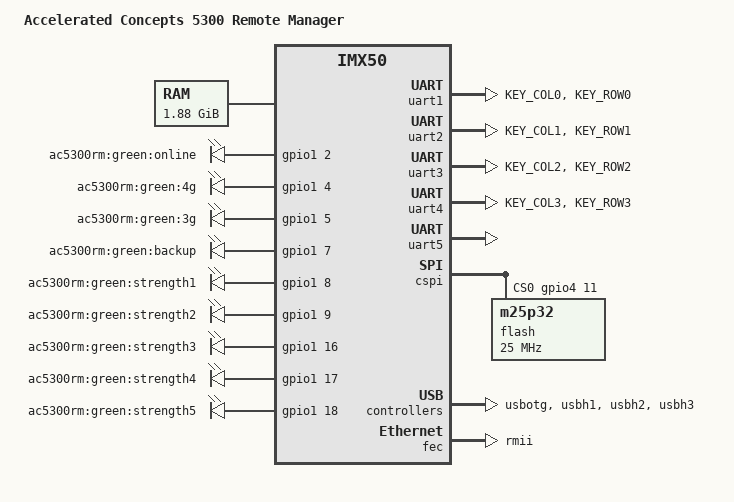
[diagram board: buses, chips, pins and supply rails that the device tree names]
/*
 * Copyright 2013, Greg Ungerer <gerg@uclinux.org>
 *
 * The code contained herein is licensed under the GNU General Public
 * License. You may obtain a copy of the GNU General Public License
 * Version 2 or later at the following locations:
 *
 * http://www.opensource.org/licenses/gpl-license.html
 * http://www.gnu.org/copyleft/gpl.html
 */

/dts-v1/;
#include "imx50.dtsi"

/ {
	model = "Accelerated Concepts 5300 Remote Manager";
	compatible = "fsl,imx50-ac5300rm", "fsl,imx50";

	memory {
		device_type = "memory";
		reg = <0x70000000 0x78000000>;
	};

	leds {
		compatible = "gpio-leds";

		green_online_led {
			label = "ac5300rm:green:online";
			gpios = <&gpio1 2 0>;
			linux,default-trigger = "online";
		};

		green_4g_led {
			label = "ac5300rm:green:4g";
			gpios = <&gpio1 4 0>;
			linux,default-trigger = "4g";
		};

		green_3g_led {
			label = "ac5300rm:green:3g";
			gpios = <&gpio1 5 0>;
			linux,default-trigger = "3g";
		};

		green_backup_led {
			label = "ac5300rm:green:backup";
			gpios = <&gpio1 7 0>;
			linux,default-trigger = "backup";
		};

		green_strength1_led {
			label = "ac5300rm:green:strength1";
			gpios = <&gpio1 8 0>;
			linux,default-trigger = "strength1";
		};

		green_strength2_led {
			label = "ac5300rm:green:strength2";
			gpios = <&gpio1 9 0>;
			linux,default-trigger = "strength2";
		};

		green_strength3_led {
			label = "ac5300rm:green:strength3";
			gpios = <&gpio1 16 0>;
			linux,default-trigger = "strength3";
		};

		green_strength4_led {
			label = "ac5300rm:green:strength4";
			gpios = <&gpio1 17 0>;
			linux,default-trigger = "strength4";
		};

		green_strength5_led {
			label = "ac5300rm:green:strength5";
			gpios = <&gpio1 18 0>;
			linux,default-trigger = "strength5";
		};
	};
};

&iomuxc {
	pinctrl-names = "default";
	pinctrl-0 = <&pinctrl_gpio_leds>, <&pinctrl_usb>;

	ledpins {
		pinctrl_gpio_leds: gpioledsgrp {
			fsl,pins = <
				MX50_PAD_DISP_D2__GPIO2_2 0
				MX50_PAD_DISP_D4__GPIO2_4 0
				MX50_PAD_DISP_D5__GPIO2_5 0
				MX50_PAD_DISP_D7__GPIO2_7 0
				MX50_PAD_DISP_D8__GPIO2_8 0
				MX50_PAD_DISP_D9__GPIO2_9 0
				MX50_PAD_DISP_WR__GPIO2_16 0
				MX50_PAD_DISP_RS__GPIO2_17 0
				MX50_PAD_DISP_BUSY__GPIO2_18 0
				MX50_PAD_EIM_CRE__GPIO1_27 0
			>;
		};
	};

	usbpins {
		pinctrl_usb: usbgrp {
			fsl,pins = <
				MX50_PAD_EPDC_BDR1__GPIO4_24 0
				MX50_PAD_EPDC_SDCE0__GPIO4_25 0
				MX50_PAD_SSI_TXD__GPIO6_2 0
				MX50_PAD_EPDC_SDCE1__GPIO4_26 0
				MX50_PAD_OWIRE__GPIO6_26 0
				MX50_PAD_EPITO__GPIO6_27 0
			>;
		};
	};

	uart1 {
		pinctrl_uart1_dtrdcd: uart1_dtrdcd_grp {
			fsl,pins = <
				MX50_PAD_KEY_COL0__GPIO4_0 0
				MX50_PAD_KEY_ROW0__GPIO4_1 0
			>;
		};
	};
	uart2 {
		pinctrl_uart2_dtrdcd: uart2_dtrdcd_grp {
			fsl,pins = <
				MX50_PAD_KEY_COL1__GPIO4_2 0
				MX50_PAD_KEY_ROW1__GPIO4_3 0
			>;
		};
	};

	uart3 {
		pinctrl_uart3_dtrdcd: uart3_dtrdcd_grp {
			fsl,pins = <
				MX50_PAD_KEY_COL2__GPIO4_4 0
				MX50_PAD_KEY_ROW2__GPIO4_5 0
			>;
		};
	};

	uart4 {
		pinctrl_uart4_dtrdcd: uart4_dtrdcd_grp {
			fsl,pins = <
				MX50_PAD_KEY_COL3__GPIO4_6 0
				MX50_PAD_KEY_ROW3__GPIO4_7 0
			>;
		};
	};
};

&uart1 {
	pinctrl-names = "default";
	pinctrl-0 = <&pinctrl_uart1_1 &pinctrl_uart1_dtrdcd>;
	fsl,uart-has-rtscts;
	fsl,uart-has-dcd-gpio = <&gpio4 0 0>;
	fsl,uart-has-dtr-gpio = <&gpio4 1 0>;
	status = "okay";
};

&uart2 {
	pinctrl-names = "default";
	pinctrl-0 = <&pinctrl_uart2_2 &pinctrl_uart2_dtrdcd>;
	fsl,uart-has-rtscts;
	fsl,uart-has-dcd-gpio = <&gpio4 2 0>;
	fsl,uart-has-dtr-gpio = <&gpio4 3 0>;
	status = "okay";
};

&uart3 {
	pinctrl-names = "default";
	pinctrl-0 = <&pinctrl_uart3_1 &pinctrl_uart3_dtrdcd>;
	fsl,uart-has-rtscts;
	fsl,uart-has-dcd-gpio = <&gpio4 4 0>;
	fsl,uart-has-dtr-gpio = <&gpio4 5 0>;
	status = "okay";
};

&uart4 {
	pinctrl-names = "default";
	pinctrl-0 = <&pinctrl_uart4_1 &pinctrl_uart4_dtrdcd>;
	fsl,uart-has-rtscts;
	fsl,uart-has-dcd-gpio = <&gpio4 6 0>;
	fsl,uart-has-dtr-gpio = <&gpio4 7 0>;
	status = "okay";
};

&uart5 {
	pinctrl-names = "default";
	pinctrl-0 = <&pinctrl_uart5_1>;
	status = "okay";
};

&cspi {
	pinctrl-names = "default";
	pinctrl-0 = <&pinctrl_cspi_1>;
	fsl,spi-num-chipselects = <1>;
	cs-gpios = <&gpio4 11 0>;
	status = "okay";

	flash: m25p32@0 {
		#address-cells = <1>;
		#size-cells = <1>;
		compatible = "m25p32", "m25p80";
		spi-max-frequency = <25000000>;
		reg = <0>;

		u-boot@0          { reg = <0x00000000 0x00030000>; };
		u-boot-env@030000 { reg = <0x00030000 0x00010000>; };
		config@40000      { reg = <0x00040000 0x000c0000>; };
		image@100000      { reg = <0x00100000 0x00780000>; };
		image1@880000     { reg = <0x00880000 0x00780000>; };
		all@0             { reg = <0x00000000 0x01000000>; };
	};
};

&usbotg {
	pinctrl-names = "default";
	status = "okay";
};

&usbh1 {
	pinctrl-names = "default";
	status = "okay";
};

&usbh2 {
	pinctrl-names = "default";
	status = "okay";
};

&usbh3 {
	pinctrl-names = "default";
	status = "okay";
};

&fec {
	pinctrl-names = "default";
	pinctrl-0 = <&pinctrl_fec_2>;
	phy-mode = "rmii";
	status = "okay";
};

